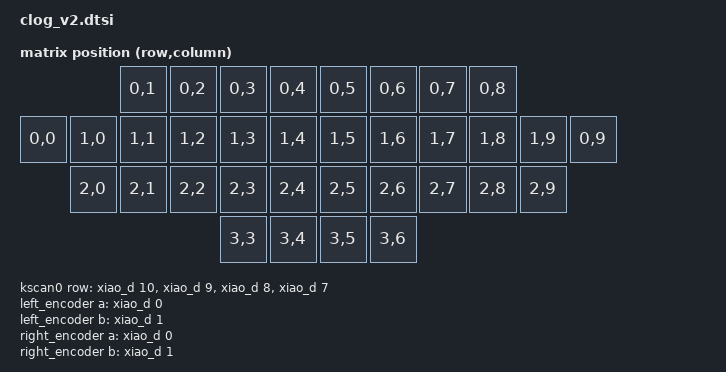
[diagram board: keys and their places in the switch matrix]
/*
 * Copyright (c) 2022 The ZMK Contributors
 *
 * SPDX-License-Identifier: MIT
 */

#include <dt-bindings/zmk/matrix_transform.h>

/ {
    chosen {
        zmk,kscan = &kscan0;
        zmk,matrix_transform = &default_transform;
        zmk,led-widgets-dev = &leds;
    };

    default_transform: keymap_transform_0 {
        compatible = "zmk,matrix-transform";
        columns = <10>;
        rows = <4>;
        map = <
                        RC(0,1) RC(0,2) RC(0,3) RC(0,4)   RC(0,5) RC(0,6) RC(0,7) RC(0,8)
        RC(0,0) RC(1,0) RC(1,1) RC(1,2) RC(1,3) RC(1,4)   RC(1,5) RC(1,6) RC(1,7) RC(1,8) RC(1,9) RC(0,9)
                RC(2,0) RC(2,1) RC(2,2) RC(2,3) RC(2,4)   RC(2,5) RC(2,6) RC(2,7) RC(2,8) RC(2,9)
                                        RC(3,3) RC(3,4)   RC(3,5) RC(3,6)
        >;
    };

    kscan0: kscan_0 {
        compatible = "zmk,kscan-gpio-matrix";
        label = "KSCAN";
        diode-direction = "row2col";

        row-gpios
            = <&xiao_d 10 GPIO_ACTIVE_HIGH>
            , <&xiao_d 9  GPIO_ACTIVE_HIGH>
            , <&xiao_d 8  GPIO_ACTIVE_HIGH>
            , <&xiao_d 7  GPIO_ACTIVE_HIGH>
            ;
    };

    leds: leds {
		compatible = "gpio-leds";
		led0: led_0 {
			gpios = <&gpio0 26 GPIO_ACTIVE_LOW>;
			label = "Red LED";
		};
		led1: led_1 {
			gpios = <&gpio0 30 GPIO_ACTIVE_LOW>;
			label = "Green LED";
		};
		led2: led_2 {
			gpios = <&gpio0 6 GPIO_ACTIVE_LOW>;
			label = "Blue LED";
		};
	};

    led-widgets {
        compatible = "zmk,led-widgets";
        boot {
            boot {
                priority = <100>;
                blue { len-ms = <100>; brightness = <0 0 50>; };
                off { len-ms = <100>; };
                blue2 { len-ms = <100>; brightness = <0 0 50>; };
            };
        };
        layer {
            lower {
                arg = <1>;
                priority = <20>;
                stat { brightness = <0 0 20>; };
            };
            raise {
                arg = <2>;
                priority = <20>;
                stat { brightness = <0 20 0>; };
            };
            game {
                arg = <3>;
                priority = <20>;
                stat { brightness = <0 0 50>; };
            };
            steno {
                arg = <4>;
                priority = <20>;
                stat { brightness = <50 0 0>; };
            };
        };
    };

	left_encoder: encoder_left {
		compatible = "alps,ec11";
		label = "LEFT_ENCODER";
		resolution = <4>;
        a-gpios = <&xiao_d 0 (GPIO_ACTIVE_LOW | GPIO_PULL_UP)>;
        b-gpios = <&xiao_d 1 (GPIO_ACTIVE_LOW | GPIO_PULL_UP)>;
	};

	right_encoder: encoder_right {
		compatible = "alps,ec11";
		label = "RIGHT_ENCODER";
		resolution = <4>;
        a-gpios = <&xiao_d 0 (GPIO_ACTIVE_LOW | GPIO_PULL_UP)>;
        b-gpios = <&xiao_d 1 (GPIO_ACTIVE_LOW | GPIO_PULL_UP)>;
	};

	sensors {
		compatible = "zmk,keymap-sensors";
		sensors = <&left_encoder &right_encoder>;
	};
};

&spi1 {
    status = "disabled";
};
